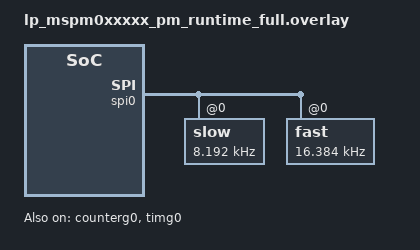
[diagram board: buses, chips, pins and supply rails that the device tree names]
/*
 * Copyright (c) 2026 Texas Instruments Incorporated
 *
 * SPDX-License-Identifier: Apache-2.0
 */

/ {
	chosen {
		zephyr,system-timer-companion = &counterg0;
	};
};

&counterg0 {
	wakeup-source;
	status = "okay";
};

&timg0 {
	clocks = <&ckm MSPM0_CLOCK_LFCLK>;
	wakeup-source;
	ti,clk-prescaler = <0>;
	status = "okay";
};

&spi0 {
	/*
	 * Clock SPI from LFCLK (32768 Hz) so it keeps running in low-power states.
	 * The max SPI frequency is LFCLK / 2 = 16384 Hz, so limit the test specs to that range.
	 */
	clocks = <&ckm MSPM0_CLOCK_LFCLK>;
	zephyr,pm-device-runtime-auto;

	slow@0 {
		spi-max-frequency = <8192>;
	};

	fast@0 {
		spi-max-frequency = <16384>;
	};
};

&cpu0 {
	cpu-power-states = <&run0 &run1 &run2
			    &stop0 &stop1 &stop2
			    &stdby0 &stdby1>;
};
